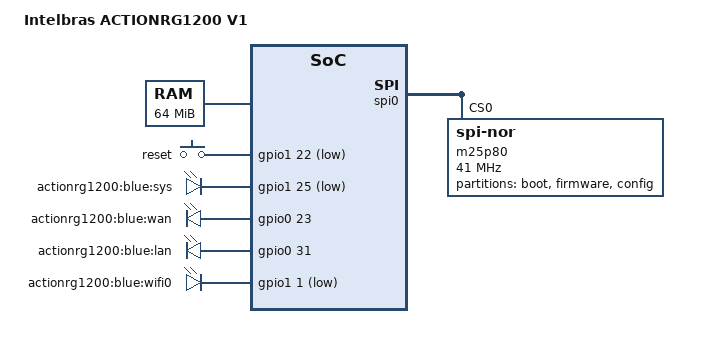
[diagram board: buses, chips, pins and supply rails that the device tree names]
// SPDX-License-Identifier: GPL-2.0
/dts-v1/;

#include "RTL8197F.dtsi"

#include <dt-bindings/gpio/gpio.h>
#include <dt-bindings/input/input.h>

/ {
	compatible = "intelbras,actionrg1200", "realtek,rtl8197f-soc";
	model = "Intelbras ACTIONRG1200 V1";

	aliases {
		led-boot = &led_status;
		led-failsafe = &led_status;
		led-running = &led_status;
		led-upgrade = &led_status;
	};

	memory {
		device_type = "memory";
		reg = <0x0 0x4000000>;
	};

	chosen {
		bootargs = "console=ttyS0,115200";
	};

	gpio-keys-polled {
		compatible = "gpio-keys-polled";
		#address-cells = <1>;
		#size-cells = <0>;
		poll-interval = <20>;

		reset {
			label = "reset";
			gpios = <&gpio1 22 GPIO_ACTIVE_LOW>;
			linux,code = <KEY_RESTART>;
		};
	};

	gpio-leds {
		compatible = "gpio-leds";

		led_status: sys {
			label = "actionrg1200:blue:sys";
			gpios = <&gpio1 25 GPIO_ACTIVE_LOW>;
		};

		wan {
			label = "actionrg1200:blue:wan";
			gpios = <&gpio0 23 GPIO_ACTIVE_HIGH>;
		};

		lan {
			label = "actionrg1200:blue:lan";
			gpios = <&gpio0 31 GPIO_ACTIVE_HIGH>;
		};

		wifi0 {
			label = "actionrg1200:blue:wifi0";
			gpios = <&gpio1 1 GPIO_ACTIVE_LOW>;
		};
	};
};

&gpio0 {
	status = "okay";
};

&gpio1 {
	status = "okay";
};

&spi0 {
	status = "okay";

	m25p80@0 {
		#address-cells = <1>;
		#size-cells = <1>;
		compatible = "jedec,spi-nor";
		reg = <0>;
		spi-max-frequency = <41000000>;

		partition@0 {
			label = "boot";
			reg = <0x0 0x30000>;
			read-only;
		};

		partition@30000 {
			label = "firmware";
			reg = <0x30000 0x7B0000>;
		};

		partition@7E0000 {
			label = "config";
			reg = <0x7E0000 0x20000>;
			read-only;
		};
	};
};
